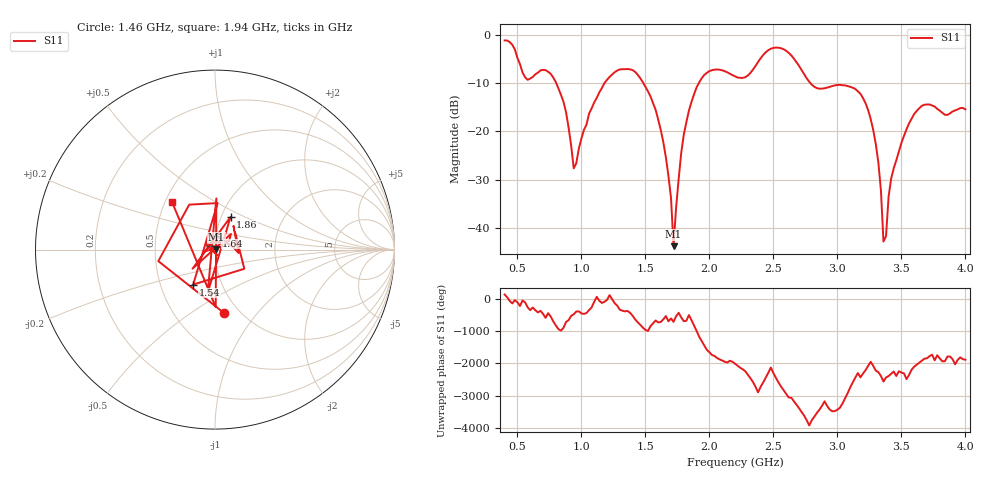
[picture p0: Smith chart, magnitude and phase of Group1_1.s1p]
!Created with skrf (http://scikit-rf.org).
# Hz S RI R 50.0
!freq ReS11 ImS11
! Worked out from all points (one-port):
!   181 points, 400 MHz to 4 GHz, reference 50 ohm
!   lowest |S11| = -43.7 dB at 1.72 GHz (marker M1), VSWR 1.01, Z = 50.6 + j0.126 ohm
!   |S11| at or under -10 dB: 803.1 MHz to 1.18 GHz (377.4 MHz wide, 38 % of centre); 1.483 GHz to 1.918 GHz (434.2 MHz wide, 25.5 % of centre); 2.789 GHz to end of sweep
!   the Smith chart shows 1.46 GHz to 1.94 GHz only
!   S11 on the Smith chart (normalised r, x): 1.46 GHz: 0.85, -0.68; 1.54 GHz: 0.73, -0.30; 1.64 GHz: 1.00, +0.16; 1.86 GHz: 1.11, +0.42; 1.94 GHz: 0.55, +0.33
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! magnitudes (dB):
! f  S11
! 400 MHz  -1.2
! 560 MHz  -8.8
! 720 MHz  -7.3
! 860 MHz  -13.9
! 940 MHz  -27.6
! 1.1 GHz  -14.0
! 1.3 GHz  -7.2
! 1.46 GHz  -9.0
! 1.54 GHz  -12.8
! 1.64 GHz  -22.2
! 1.7 GHz  -33.7
! 1.72 GHz  -43.7
! 1.76 GHz  -29.8
! 1.86 GHz  -13.9
! 1.94 GHz  -9.0
! 2.2 GHz  -8.6
! 2.5 GHz  -2.7
! 2.66 GHz  -5.0
! 2.84 GHz  -11.1
! 3.1 GHz  -10.8
! 3.28 GHz  -19.7
! 3.34 GHz  -32.2
! 3.36 GHz  -42.7
! 3.38 GHz  -41.6
! 3.42 GHz  -29.8
! 3.56 GHz  -18.3
! 3.68 GHz  -14.5
! 4 GHz  -15.4
